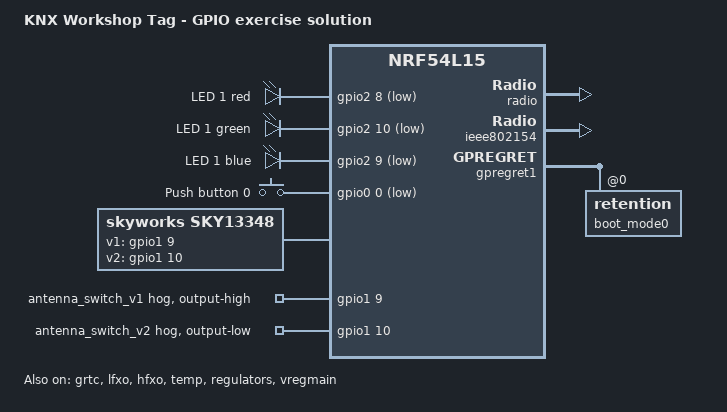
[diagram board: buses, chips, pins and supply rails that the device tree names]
/dts-v1/;

#include <arm/nordic/nrf54l15_cpuapp.dtsi>
#include <vendor/nordic/nrf54l15_cpuapp_partition.dtsi>
#include <zephyr/dt-bindings/gpio/gpio.h>
#include <zephyr/dt-bindings/input/input-event-codes.h>
#include <zephyr/dt-bindings/led/led.h>

/ {
	model = "KNX Workshop Tag - GPIO exercise solution";
	compatible = "nordic,nrf54l15tag_nrf54l15_cpuapp";

	chosen {
		zephyr,flash-controller = &rram_controller;
		zephyr,flash = &cpuapp_rram;
		zephyr,sram = &cpuapp_sram;
		zephyr,code-partition = &slot0_partition;
		zephyr,ieee802154 = &ieee802154;
		zephyr,boot-mode = &boot_mode0;
	};

	aliases {
		led0 = &led1_blue;
		sw0 = &button0;
		mcuboot-led0 = &led1_blue;
		mcuboot-button0 = &button0;
	};

	leds {
		compatible = "gpio-leds";

		led1_red: led1_red {
			gpios = <&gpio2 8 GPIO_ACTIVE_LOW>;
			label = "LED 1 red";
		};

		led1_green: led1_green {
			gpios = <&gpio2 10 GPIO_ACTIVE_LOW>;
			label = "LED 1 green";
		};

		led1_blue: led1_blue {
			gpios = <&gpio2 9 GPIO_ACTIVE_LOW>;
			label = "LED 1 blue";
		};
	};

	rgb_led_1: rgb_led_1 {
		compatible = "leds-group-multicolor";
		leds = <&led1_red>, <&led1_green>, <&led1_blue>;
		color-mapping = <LED_COLOR_ID_RED>, <LED_COLOR_ID_GREEN>, <LED_COLOR_ID_BLUE>;
	};

	buttons {
		compatible = "gpio-keys";

		button0: button0 {
			gpios = <&gpio0 0 (GPIO_PULL_UP | GPIO_ACTIVE_LOW)>;
			label = "Push button 0";
			zephyr,code = <INPUT_KEY_0>;
		};
	};

	sky13348: sky13348 {
		compatible = "skyworks,sky13348";
		v1-gpios = <&gpio1 9 GPIO_ACTIVE_HIGH>;
		v2-gpios = <&gpio1 10 GPIO_ACTIVE_HIGH>;
	};
};

&pinctrl {
	i2c21_default: i2c21_default {
		group1 {
			psels = <NRF_PSEL(TWIM_SDA, 1, 12)>, <NRF_PSEL(TWIM_SCL, 1, 11)>;
		};
	};

	i2c21_sleep: i2c21_sleep {
		group1 {
			psels = <NRF_PSEL(TWIM_SDA, 1, 12)>, <NRF_PSEL(TWIM_SCL, 1, 11)>;
			low-power-enable;
		};
	};

	spi22_default: spi22_default {
		group1 {
			psels = <NRF_PSEL(SPIM_SCK, 1, 8)>,
				<NRF_PSEL(SPIM_MOSI, 1, 6)>, <NRF_PSEL(SPIM_MISO, 1, 5)>;
		};
	};

	spi22_sleep: spi22_sleep {
		group1 {
			psels = <NRF_PSEL(SPIM_SCK, 1, 8)>,
				<NRF_PSEL(SPIM_MOSI, 1, 6)>, <NRF_PSEL(SPIM_MISO, 1, 5)>;
			low-power-enable;
		};
	};
};

&i2c21 {
	status = "disabled";
	pinctrl-0 = <&i2c21_default>;
	pinctrl-1 = <&i2c21_sleep>;
	pinctrl-names = "default", "sleep";
	zephyr,concat-buf-size = <256>;
	clock-frequency = <I2C_BITRATE_STANDARD>;

	bme688: bme688@76 {
		status = "disabled";
		compatible = "bosch,bme680";
		reg = <0x76>;
	};

	adxl367: adxl367@1d {
		status = "disabled";
		compatible = "adi,adxl367";
		reg = <0x1d>;
	};
};

&spi22 {
	status = "disabled";
	pinctrl-0 = <&spi22_default>;
	pinctrl-1 = <&spi22_sleep>;
	pinctrl-names = "default", "sleep";
	overrun-character = <0x00>;
	cs-gpios = <&gpio1 7 GPIO_ACTIVE_LOW>;

	bmi270: bmi270@0 {
		status = "disabled";
		compatible = "bosch,bmi270";
		reg = <0>;
		spi-max-frequency = <DT_FREQ_M(8)>;
		irq-gpios = <&gpio1 4 GPIO_ACTIVE_HIGH>;
	};
};

&grtc {
	owned-channels = <0 1 2 3 4 5 6 7 8 9 10 11>;
	child-owned-channels = <3 4 7 8 9 10 11>;
	status = "okay";
};

&lfxo {
	status = "okay";
	load-capacitors = "internal";
	load-capacitance-femtofarad = <9000>;
};

&hfxo {
	status = "okay";
	load-capacitors = "internal";
	load-capacitance-femtofarad = <8000>;
};

&radio {
	status = "okay";
};

&ieee802154 {
	status = "okay";
};

&temp {
	status = "okay";
};

&clock {
	status = "okay";
};

&regulators {
	status = "okay";
};

&vregmain {
	status = "okay";
	regulator-initial-mode = <NRF5X_REG_MODE_DCDC>;
};

&gpregret1 {
	status = "okay";

	boot_mode0: boot_mode@0 {
		compatible = "zephyr,retention";
		status = "okay";
		reg = <0x0 0x1>;
	};
};

&gpio0 {
	status = "okay";
};

&gpio1 {
	status = "okay";

	antenna_switch_v1 {
		gpio-hog;
		gpios = <9 GPIO_ACTIVE_HIGH>;
		output-high;
	};

	antenna_switch_v2 {
		gpio-hog;
		gpios = <10 GPIO_ACTIVE_HIGH>;
		output-low;
	};
};

&gpio2 {
	status = "okay";
};

&gpiote20 {
	status = "okay";
};

&gpiote30 {
	status = "okay";
};

&uicr {
	nfct-pins-as-gpios;
};
